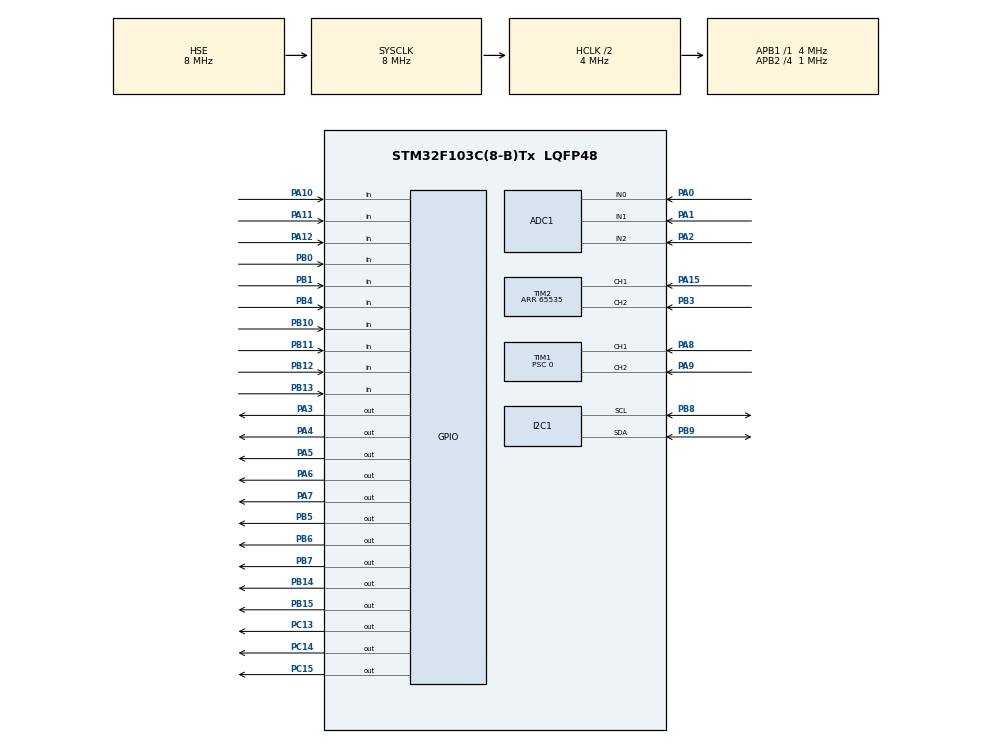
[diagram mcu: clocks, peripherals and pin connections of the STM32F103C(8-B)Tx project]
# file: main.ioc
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ADC1.Channel-0\#ChannelRegularConversion=ADC_CHANNEL_0
ADC1.ContinuousConvMode=ENABLE
ADC1.NbrOfConversion=1
ADC1.NbrOfConversionFlag=1
ADC1.Rank-0\#ChannelRegularConversion=1
ADC1.SamplingTime-0\#ChannelRegularConversion=ADC_SAMPLETIME_239CYCLES_5
ADC1.master=1
I2C1.I2C_Mode=I2C_Standard
Mcu.Family=STM32F1
Mcu.Name=STM32F103C(8-B)Tx
Mcu.Package=LQFP48
NVIC.PriorityGroup=NVIC_PRIORITYGROUP_4
PA0-WKUP.Signal=ADCx_IN0
PA1.Signal=ADCx_IN1
PA10.GPIO_PuPd=GPIO_PULLUP
PA10.Signal=GPIO_Input
PA11.GPIO_PuPd=GPIO_PULLUP
PA11.Signal=GPIO_Input
PA12.GPIO_PuPd=GPIO_PULLUP
PA12.Signal=GPIO_Input
PA13.Mode=Serial_Wire
PA13.Signal=SYS_JTMS-SWDIO
PA14.Mode=Serial_Wire
PA14.Signal=SYS_JTCK-SWCLK
PA15.GPIO_PuPd=GPIO_PULLUP
PA15.Signal=S_TIM2_CH1_ETR
PA2.Signal=ADCx_IN2
PA3.Signal=GPIO_Output
PA4.Signal=GPIO_Output
PA5.Signal=GPIO_Output
PA6.Signal=GPIO_Output
PA7.Signal=GPIO_Output
PA8.GPIO_Mode=GPIO_MODE_INPUT
PA8.GPIO_PuPd=GPIO_PULLUP
PA8.Signal=S_TIM1_CH1
PA9.GPIO_Mode=GPIO_MODE_INPUT
PA9.GPIO_PuPd=GPIO_PULLUP
PA9.Signal=S_TIM1_CH2
PB0.GPIO_PuPd=GPIO_PULLUP
PB0.Signal=GPIO_Input
PB1.GPIO_PuPd=GPIO_PULLUP
PB1.Signal=GPIO_Input
PB10.GPIO_PuPd=GPIO_PULLUP
PB10.Signal=GPIO_Input
PB11.GPIO_PuPd=GPIO_PULLUP
PB11.Signal=GPIO_Input
PB12.GPIO_PuPd=GPIO_PULLUP
PB12.Signal=GPIO_Input
PB13.GPIO_PuPd=GPIO_PULLUP
PB13.Signal=GPIO_Input
PB14.Signal=GPIO_Output
PB15.Signal=GPIO_Output
PB3.GPIO_PuPd=GPIO_PULLUP
PB3.Signal=S_TIM2_CH2
PB4.GPIO_PuPd=GPIO_PULLUP
PB4.Signal=GPIO_Input
PB5.Signal=GPIO_Output
PB6.Signal=GPIO_Output
PB7.Signal=GPIO_Output
PB8.Mode=I2C
PB8.Signal=I2C1_SCL
PB9.Mode=I2C
PB9.Signal=I2C1_SDA
PC13-TAMPER-RTC.Signal=GPIO_Output
PC14-OSC32_IN.Signal=GPIO_Output
PC15-OSC32_OUT.Signal=GPIO_Output
PD0-OSC_IN.Mode=HSE-External-Oscillator
PD0-OSC_IN.Signal=RCC_OSC_IN
PD1-OSC_OUT.Mode=HSE-External-Oscillator
PD1-OSC_OUT.Signal=RCC_OSC_OUT
ProjectManager.HeapSize=0x200
ProjectManager.StackSize=0x400
ProjectManager.TargetToolchain=Makefile
RCC.AHBCLKDivider=RCC_SYSCLK_DIV2
RCC.AHBFreq_Value=4000000
RCC.APB1Freq_Value=4000000
RCC.APB1TimFreq_Value=4000000
RCC.APB2CLKDivider=RCC_HCLK_DIV4
RCC.APB2Freq_Value=1000000
RCC.APB2TimFreq_Value=2000000
RCC.HCLKFreq_Value=4000000
RCC.PLLSourceVirtual=RCC_PLLSOURCE_HSE
RCC.SYSCLKFreq_VALUE=8000000
RCC.SYSCLKSource=RCC_SYSCLKSOURCE_HSE
RCC.TimSys_Div=SYSTICK_CLKSOURCE_HCLK_DIV8
RCC.USBFreq_Value=16000000
SH.ADCx_IN0.0=ADC1_IN0,IN0
SH.ADCx_IN1.0=ADC1_IN1,IN1
SH.ADCx_IN2.0=ADC1_IN2,IN2
SH.S_TIM1_CH1.0=TIM1_CH1,Encoder_Interface
SH.S_TIM1_CH2.0=TIM1_CH2,Encoder_Interface
SH.S_TIM2_CH1_ETR.0=TIM2_CH1,Encoder_Interface
SH.S_TIM2_CH2.0=TIM2_CH2,Encoder_Interface
TIM1.ClockDivision=TIM_CLOCKDIVISION_DIV1
TIM1.CounterMode=TIM_COUNTERMODE_UP
TIM1.EncoderMode=TIM_ENCODERMODE_TI1
TIM1.IC1Filter=0
TIM1.IC2Filter=0
TIM1.Period=65535
TIM1.Prescaler=0
TIM2.Period=65535
board=stm32-si5351-vfo

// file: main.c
/* USER CODE BEGIN Header */
/**
  ******************************************************************************
  * @file           : main.c
  * @brief          : Main program body
  ******************************************************************************
  ** This notice applies to any and all portions of this file
  * that are not between comment pairs USER CODE BEGIN and
  * USER CODE END. Other portions of this file, whether
  * inserted by the user or by software development tools
  * are owned by their respective copyright owners.
  *
  * COPYRIGHT(c) 2020 STMicroelectronics
  *
  * Redistribution and use in source and binary forms, with or without modification,
  * are permitted provided that the following conditions are met:
  *   1. Redistributions of source code must retain the above copyright notice,
  *      this list of conditions and the following disclaimer.
  *   2. Redistributions in binary form must reproduce the above copyright notice,
  *      this list of conditions and the following disclaimer in the documentation
  *      and/or other materials provided with the distribution.
  *   3. Neither the name of STMicroelectronics nor the names of its contributors
  *      may be used to endorse or promote products derived from this software
  *      without specific prior written permission.
  *
  * THIS SOFTWARE IS PROVIDED BY THE COPYRIGHT HOLDERS AND CONTRIBUTORS "AS IS"
  * AND ANY EXPRESS OR IMPLIED WARRANTIES, INCLUDING, BUT NOT LIMITED TO, THE
  * IMPLIED WARRANTIES OF MERCHANTABILITY AND FITNESS FOR A PARTICULAR PURPOSE ARE
  * DISCLAIMED. IN NO EVENT SHALL THE COPYRIGHT HOLDER OR CONTRIBUTORS BE LIABLE
  * FOR ANY DIRECT, INDIRECT, INCIDENTAL, SPECIAL, EXEMPLARY, OR CONSEQUENTIAL
  * DAMAGES (INCLUDING, BUT NOT LIMITED TO, PROCUREMENT OF SUBSTITUTE GOODS OR
  * SERVICES; LOSS OF USE, DATA, OR PROFITS; OR BUSINESS INTERRUPTION) HOWEVER
  * CAUSED AND ON ANY THEORY OF LIABILITY, WHETHER IN CONTRACT, STRICT LIABILITY,
  * OR TORT (INCLUDING NEGLIGENCE OR OTHERWISE) ARISING IN ANY WAY OUT OF THE USE
  * OF THIS SOFTWARE, EVEN IF ADVISED OF THE POSSIBILITY OF SUCH DAMAGE.
  *
  ******************************************************************************
  */
/* USER CODE END Header */

#include "main.h"

/* USER CODE BEGIN Includes */
#include <string.h>
#include <stdlib.h>
#include <stdbool.h>
#include <math.h>
#include "si5351.h"
#include "lcd.h"

/* USER CODE END Includes */

ADC_HandleTypeDef hadc1;

I2C_HandleTypeDef hi2c1;

TIM_HandleTypeDef htim1;
TIM_HandleTypeDef htim2;

/* USER CODE BEGIN PV */
/* Private variables ---------------------------------------------------------*/

/* USER CODE END PV */

void SystemClock_Config(void);
static void MX_GPIO_Init(void);
static void MX_TIM1_Init(void);
static void MX_I2C1_Init(void);
static void MX_ADC1_Init(void);
static void MX_TIM2_Init(void);
/* USER CODE BEGIN PFP */
/* Private function prototypes -----------------------------------------------*/

/* USER CODE END PFP */

/* USER CODE BEGIN 0 */

#define CH_CW   0
#define CH_CAL  1
#define CH_VFO  2

#define LOOP_DELAY 5

const int32_t CWFilterCenterFrequency = 8998300;
const int32_t SSBFilterLowFrequency  = 8997600;
const int32_t SSBFilterHighFrequency = 9000670;

const int32_t si5351_correction = 11014;
const si5351DriveStrength_t VFODriveStrength = SI5351_DRIVE_STRENGTH_4MA;

/* Adjust for used rotary encoders */
#define MAIN_DELTA_DIV 20
#define MAIN_DELTA_MULT 1
#define CLAR_DELTA_DIV 1
#define CLAR_DELTA_MULT -1

int32_t Fvfo = 1000000; // dummy value, will be changed below

const uint8_t eeprom_i2c_addr = (0x50 << 1);
#define EEPROM_PAGE_SIZE 32
#define KEYER_CONFIG_EEPROM_ADDR        0x0000
#define KEYER_MESSAGE_EEPROM_ADDR       0x0400

typedef enum {
    CLAR_MODE_DISABLED = 0,
    CLAR_MODE_RIT = 1,
    CLAR_MODE_XIT = 2,
} ClarMode_t;

bool lockMode = false;
bool fastMode = false;
ClarMode_t clarMode = CLAR_MODE_DISABLED;

int32_t clarOffset = 0;

typedef enum {
    CW_SEND_NONE = 0,
    CW_SEND_DIT = 1,
    CW_SEND_DAH = 2,
} CwSend_t;

CwSend_t lastSent = CW_SEND_NONE;
CwSend_t nextSend = CW_SEND_NONE;

typedef enum {
    KEYER_SETINGS_PAGE_SPEED = 0,
    KEYER_SETINGS_PAGE_SAVE = 1,
    KEYER_SETINGS_PAGE_PLAY = 2,
} KeyerSettingsPage_t;

typedef struct {
    uint16_t checksum;
    bool straightKey;
    int32_t speedWPM;
    int32_t ditTimeMs;
    KeyerSettingsPage_t settingsPage;
} KeyerConfig_t;

KeyerConfig_t keyerConfig = {
    .checksum = 0,
    .straightKey = false,
    .speedWPM = 19,

    // ditTimeMs = 60*1000/(50*WPM)
    // where 50 is the length in dits of "PARIS "
    // see https://morsecode.world/international/timing.html
    .ditTimeMs = 63,
    .settingsPage = KEYER_SETINGS_PAGE_SPEED,
};

#define MAX_KEYER_MESSAGE_LENGTH 500

typedef struct {
    uint16_t checksum;
    uint16_t length;
    char message[MAX_KEYER_MESSAGE_LENGTH];
} KeyerMessage_t;

KeyerMessage_t keyerMessage = {
    .checksum = 0,
    .length = 0,
};

bool inTransmitMode = false;
bool transmittingSSB = false;

#define BUTTON_DEBOUNCE_TIME_MS 200
typedef enum {
    BUTTON_STATUS_PRESSED = 0,
    BUTTON_STATUS_RELEASED = 1,
    BUTTON_STATUS_DEBOUNCE = 2,
} ButtonStatus_t;

typedef enum {
    USE_LPF_80 = 0,
    USE_LPF_40 = 1,
    USE_LPF_20_30 = 2,
    USE_LPF_15_17 = 3,
    USE_LPF_10_12 = 4,
} UseLPF_t;

typedef enum {
    USE_BPF_80 = 0,
    USE_BPF_40 = 1,
    USE_BPF_30 = 2,
    USE_BPF_20 = 3,
    USE_BPF_17 = 4,
    USE_BPF_15 = 5,
    USE_BPF_12 = 6,
    USE_BPF_10 = 7,
} UseBPF_t;

#define FAST_FREQUENCIES_NUMBER 5

typedef struct {
    int32_t minFreq;
    int32_t maxFreq;
    int32_t lastFreq;
    /* The array of FAST frequencies should be sorted */
    int32_t fastFreqs[FAST_FREQUENCIES_NUMBER];
    UseLPF_t lpf;
    UseBPF_t bpf;
    /*
     * Compensate for losses in RG-174, frequency response of the given
     * PA depending on the used transistor, imperfections of the LPFs, etc.
     * This works only for CW.
     */
    si5351DriveStrength_t txDriveStrength;
} BandInfo_t;

int32_t currentBand = 3; // default: 20m

BandInfo_t bands[] = {
    {
        .minFreq  = 3500000,
        .maxFreq  = 3800000,
        .lastFreq = 3560000,
        .fastFreqs = { 3500000, 3560000, 3570000, 3600000, 3800000 },
        .lpf = USE_LPF_80,
        .bpf = USE_BPF_80,
        .txDriveStrength = SI5351_DRIVE_STRENGTH_2MA,
    },
    {
        .minFreq  = 7000000,
        .maxFreq  = 7200000,
        .lastFreq = 7030000,
        .fastFreqs = { 7000000, 7030000, 7040000, 7050000, 7200000 },
        .lpf = USE_LPF_40,
        .bpf = USE_BPF_40,
        .txDriveStrength = SI5351_DRIVE_STRENGTH_2MA,
    },
    {
        .minFreq  = 10100000,
        .maxFreq  = 10150000,
        .lastFreq = 10116000,
        .fastFreqs = { 10100000, 10116000, 10130000, -1, -1 },
        .lpf = USE_LPF_20_30,
        .bpf = USE_BPF_30,
        .txDriveStrength = SI5351_DRIVE_STRENGTH_2MA,
    },
    {
        .minFreq  = 14000000,
        .maxFreq  = 14350000,
        .lastFreq = 14060000,
        .fastFreqs = { 14000000, 14060000, 14070000, 14101000, 14350000 },
        .lpf = USE_LPF_20_30,
        .bpf = USE_BPF_20,
        .txDriveStrength = SI5351_DRIVE_STRENGTH_2MA,
    },
    {
        .minFreq  = 18068000,
        .maxFreq  = 18168000,
        .lastFreq = 18086000,
        .fastFreqs = { 18068000, 18086000, 18095000, 18111000, 18168000 },
        .lpf = USE_LPF_15_17,
        .bpf = USE_BPF_17,
        .txDriveStrength = SI5351_DRIVE_STRENGTH_4MA,
    },
    {
        .minFreq  = 21000000,
        .maxFreq  = 21450000,
        .lastFreq = 21060000,
        .fastFreqs = { 21000000, 21060000, 21070000, 21151000, 21450000 },
        .lpf = USE_LPF_15_17,
        .bpf = USE_BPF_15,
        .txDriveStrength = SI5351_DRIVE_STRENGTH_8MA,
    },
    {
        .minFreq  = 24890000,
        .maxFreq  = 24990000,
        .lastFreq = 24906000,
        .fastFreqs = { 24890000, 24906000, 24915000, 24931000, 24990000 },
        .lpf = USE_LPF_10_12,
        .bpf = USE_BPF_12,
        .txDriveStrength = SI5351_DRIVE_STRENGTH_8MA,
    },
    {
        .minFreq  = 28000000,
        .maxFreq  = 29700000,
        .lastFreq = 28060000,
        .fastFreqs = { 28000000, 28060000, 28070000, 28225000, 29000000 },
        .lpf = USE_LPF_10_12,
        .bpf = USE_BPF_10,
        .txDriveStrength = SI5351_DRIVE_STRENGTH_8MA,
    },
};

void ADC_Select_Channel(uint32_t ch) {
    ADC_ChannelConfTypeDef conf = {
        .Channel = ch,
        .Rank = 1,
        .SamplingTime = ADC_SAMPLETIME_28CYCLES_5,
    };
    if (HAL_ADC_ConfigChannel(&hadc1, &conf) != HAL_OK) {
        Error_Handler();
    }

    /*
     * Without this delay the next call of ADC_ReadVoltage()
     * may get a value from the previously used channel.
     * As a result updateSWRMeter() will see equal v_fwd
     * and v_ref, which results in a false high SWR value.
     * So keep the delay!
     */
    HAL_Delay(1);
}

double ADC_ReadVoltage(uint32_t ch) {
    ADC_Select_Channel(ch);
    HAL_ADC_PollForConversion(&hadc1, HAL_MAX_DELAY);
    return ((double)HAL_ADC_GetValue(&hadc1))*3.3/4096.0;
}

// http://en.wikipedia.org/wiki/Jenkins_hash_function
uint32_t jenkinsHash(const uint8_t *data, const size_t len) {
    uint32_t hash, i;
    for(hash = i = 0; i < len; ++i) {
        hash += data[i];
        hash += (hash << 10);
        hash ^= (hash >> 6);
    }
    hash += (hash << 3);
    hash ^= (hash >> 11);
    hash += (hash << 15);
    return hash;
}

void loadKeyerMessage() {
    HAL_StatusTypeDef status;
    uint16_t savedChecksum;
    KeyerMessage_t savedKeyerMessage;

    for(;;) {
        status = HAL_I2C_IsDeviceReady(&hi2c1, eeprom_i2c_addr, 3, HAL_MAX_DELAY);
        if(status == HAL_OK)
            break;
    }

    HAL_I2C_Mem_Read(&hi2c1, eeprom_i2c_addr, KEYER_MESSAGE_EEPROM_ADDR, I2C_MEMADD_SIZE_16BIT,
            (uint8_t*)&savedKeyerMessage, sizeof(savedKeyerMessage), HAL_MAX_DELAY);

    savedChecksum = savedKeyerMessage.checksum;
    savedKeyerMessage.checksum = 0;

    if((jenkinsHash((const uint8_t*)&savedKeyerMessage, sizeof(savedKeyerMessage)) & 0xFFFF) == savedChecksum) {
        keyerMessage = savedKeyerMessage;
    } else {
        LCD_Goto(0, 0);
        LCD_SendString("MSG HASH");
        LCD_Goto(1, 0);
        LCD_SendString(" ERROR! ");
        HAL_Delay(2000);
        LCD_Clear();
    }
}

void saveKeyerMessage() {
    HAL_StatusTypeDef status;
    uint16_t checksum;
    size_t bytes_to_write = sizeof(keyerMessage);
    uint8_t* struct_offset = (uint8_t*)&keyerMessage;
    uint16_t eeprom_addr = KEYER_MESSAGE_EEPROM_ADDR;

    keyerMessage.checksum = 0;
    checksum = (jenkinsHash((const uint8_t*)&keyerMessage, sizeof(keyerMessage)) & 0xFFFF);
    keyerMessage.checksum = checksum;

    // sizeof(keyerMessage) exceeds EEPROM_PAGE_SIZE
    // so we have to write it in batches
    while(bytes_to_write > 0) {
        size_t batch_size = bytes_to_write;
        if(batch_size > EEPROM_PAGE_SIZE) {
            batch_size = EEPROM_PAGE_SIZE;
        }

        for(;;) {
            status = HAL_I2C_IsDeviceReady(&hi2c1, eeprom_i2c_addr, 3, HAL_MAX_DELAY);
            if(status == HAL_OK)
                break;
        }

        HAL_I2C_Mem_Write(&hi2c1, eeprom_i2c_addr, eeprom_addr, I2C_MEMADD_SIZE_16BIT,
            struct_offset, batch_size, HAL_MAX_DELAY);

        bytes_to_write -= batch_size;
        struct_offset += batch_size;
        eeprom_addr += batch_size;
    }
}

void loadKeyerConfig() {
    HAL_StatusTypeDef status;
    uint16_t savedChecksum;
    KeyerConfig_t savedKeyerConfig;

    for(;;) {
        status = HAL_I2C_IsDeviceReady(&hi2c1, eeprom_i2c_addr, 3, HAL_MAX_DELAY);
        if(status == HAL_OK)
            break;
    }

    HAL_I2C_Mem_Read(&hi2c1, eeprom_i2c_addr, KEYER_CONFIG_EEPROM_ADDR, I2C_MEMADD_SIZE_16BIT,
        (uint8_t*)&savedKeyerConfig, sizeof(savedKeyerConfig), HAL_MAX_DELAY);

    savedChecksum = savedKeyerConfig.checksum;
    savedKeyerConfig.checksum = 0;

    if((jenkinsHash((const uint8_t*)&savedKeyerConfig, sizeof(savedKeyerConfig)) & 0xFFFF) == savedChecksum) {
        keyerConfig = savedKeyerConfig;
    } else {
        LCD_Goto(0, 0);
        LCD_SendString("CFG HASH");
        LCD_Goto(1, 0);
        LCD_SendString(" ERROR! ");
        HAL_Delay(2000);
        LCD_Clear();
    }
}

void saveKeyerConfig() {
    HAL_StatusTypeDef status;
    uint16_t checksum;
    keyerConfig.checksum = 0;

    checksum = (jenkinsHash((const uint8_t*)&keyerConfig, sizeof(keyerConfig)) & 0xFFFF);
    keyerConfig.checksum = checksum;

    for(;;) {
        status = HAL_I2C_IsDeviceReady(&hi2c1, eeprom_i2c_addr, 3, HAL_MAX_DELAY);
        if(status == HAL_OK)
            break;
    }

    HAL_I2C_Mem_Write(&hi2c1, eeprom_i2c_addr, KEYER_CONFIG_EEPROM_ADDR, I2C_MEMADD_SIZE_16BIT,
        (uint8_t*)&keyerConfig, sizeof(keyerConfig), HAL_MAX_DELAY);
}

void changeKeyerSpeed(int32_t delta) {
    keyerConfig.speedWPM += delta;
    if(keyerConfig.speedWPM < 10) {
        keyerConfig.speedWPM = 10;
        keyerConfig.straightKey = true;
        keyerConfig.ditTimeMs = 60*1000/(50*(10+1)); // as for 10 WPM
    } else {
        keyerConfig.straightKey = false;
        if(keyerConfig.speedWPM > 30) {
            keyerConfig.speedWPM = 30;
        }

        /* +1 compensates the signal rise/fall time */
        keyerConfig.ditTimeMs = 60*1000/(50*(keyerConfig.speedWPM + 1));
    }
}

void SetupCLK(uint8_t output, int32_t Fclk, si5351DriveStrength_t driveStrength) {
    static bool pllSetupDone = false;
    si5351PLLConfig_t pll_conf;
    si5351OutputConfig_t out_conf;

    si5351_Calc(Fclk, &pll_conf, &out_conf);
    if(!pllSetupDone) {
        si5351_SetupPLL(SI5351_PLL_A, &pll_conf);
        pllSetupDone = true;
    }
    si5351_SetupOutput(output, SI5351_PLL_A, driveStrength, &out_conf);
}

void enableTx(bool enable) {
    // ENABLE_TX_12V
    HAL_GPIO_WritePin(GPIOB, GPIO_PIN_15, enable ? GPIO_PIN_SET : GPIO_PIN_RESET);
}

void switchBFO(bool enable) {
    /*
     *  enable - use high frequency BFO, e.g. 9_000_633
     * !enable - use  low frequency BFO, e.g. 8_997_600
     */
    HAL_GPIO_WritePin(GPIOA, GPIO_PIN_7, enable ? GPIO_PIN_SET : GPIO_PIN_RESET);
}

bool enabledSSBMode() {
    /*
     * B4 is low  - SSB mode
     * B4 is high -  CW mode
     */
    return (HAL_GPIO_ReadPin(GPIOB, GPIO_PIN_4) == GPIO_PIN_RESET);
}

void changeFrequency(int32_t delta, bool tx, bool force) {
    static int32_t prevFvfo = 0;

    if((!force) && lockMode) {
        return;
    }

    if(fastMode) {
        delta *= 10;
    }
    bands[currentBand].lastFreq += 100*delta;
    if(fastMode && (delta != 0)) {
        bands[currentBand].lastFreq -= bands[currentBand].lastFreq % 1000;
    }

    if(bands[currentBand].lastFreq < bands[currentBand].minFreq) {
        bands[currentBand].lastFreq = bands[currentBand].minFreq;
    } else if(bands[currentBand].lastFreq > bands[currentBand].maxFreq) {
        bands[currentBand].lastFreq = bands[currentBand].maxFreq;
    }

    if(enabledSSBMode()) {
        if((currentBand == 0) || (currentBand == 1)) {
            /* Low frequency BFO is used on 80 and 40 meters */
            Fvfo = bands[currentBand].lastFreq + SSBFilterLowFrequency;
        } else {
            Fvfo = bands[currentBand].lastFreq + SSBFilterHighFrequency;
        }
    } else {
        // this path is executed only when receiving CW
        Fvfo = bands[currentBand].lastFreq + CWFilterCenterFrequency;
    }

    if(tx) {
        // this path is executed only when transmitting SSB
        if(clarMode == CLAR_MODE_XIT) {
            Fvfo += clarOffset;
        }
    } else {
        if(clarMode == CLAR_MODE_RIT) {
            Fvfo += clarOffset;
        }
    }

    if(force || (Fvfo != prevFvfo)) {
        SetupCLK(CH_VFO, Fvfo, VFODriveStrength);
    }

    prevFvfo = Fvfo;
}

void checkIfRxModeHasChanged() {
    static bool firstCall = true;
    static bool prevBFOSwitch = false;
    static bool prevSSBMode = false;

    bool ssbMode = enabledSSBMode();

    /*
     * use high frequency BFO (i.e. spectrum inversion)
     * for SSB on bands other than 80 and 40 meters
     */
    bool bfoSwitch = ssbMode && (currentBand != 0) && (currentBand != 1);

    if((prevBFOSwitch != bfoSwitch) || firstCall) {
        switchBFO(bfoSwitch);
        prevBFOSwitch = bfoSwitch;
    }

    if((prevSSBMode != ssbMode) || firstCall) {
        changeFrequency(0, false, true);
        // ENABLE_SSB_12V
        HAL_GPIO_WritePin(GPIOB, GPIO_PIN_14, ssbMode ? GPIO_PIN_SET : GPIO_PIN_RESET);
        prevSSBMode = ssbMode;
    }

    firstCall = false;
}

void displayFrequency() {
    char buff[16];
    snprintf(buff, sizeof(buff), "%02ld.%03ld.%01ld",
        bands[currentBand].lastFreq / 1000000,
        (bands[currentBand].lastFreq % 1000000) / 1000,
        (bands[currentBand].lastFreq % 1000) / 100);

    LCD_Goto(0, 0);
    LCD_SendString(buff);
}

bool buttonDitPressed() {
    return (HAL_GPIO_ReadPin(GPIOB, GPIO_PIN_12) == GPIO_PIN_RESET);
}

bool buttonDahPressed() {
    return (HAL_GPIO_ReadPin(GPIOB, GPIO_PIN_13) == GPIO_PIN_RESET);
}

void displaySMeterOrMode(bool force) {
    static const char* prevSValue = NULL;
    static uint32_t lastSMeterUpdateTime = 0;
    // don't forget to add '-u _printf_float' to LDFLAGS
    char buff[16];

    if(force) {
        LCD_Goto(1, 0);
        if(fastMode) {
            LCD_SendString("= FAST =");
            return;
        } else if(lockMode) {
            LCD_SendString("= LOCK =");
            return;
        } else if(clarMode != CLAR_MODE_DISABLED) {
            snprintf(buff, sizeof(buff), "%s%s%04d",
                clarMode == CLAR_MODE_RIT ? "RIT" : "XIT",
                clarOffset < 0 ? "-" : "+",
                abs(clarOffset));
            LCD_SendString(buff);
            return;
        }
    }

    uint32_t tstamp = HAL_GetTick();
    if(force || (tstamp - lastSMeterUpdateTime > 500)) {
        const char* sValue = NULL;
        double voltage = ADC_ReadVoltage(ADC_CHANNEL_2);

        if(voltage <= 0.035) {
            sValue = "S0      ";
        } else if(voltage <= 0.038) {
            sValue = "S1      ";
        } else if(voltage <= 0.043) {
            sValue = "S2\x02     ";
        } else if(voltage <= 0.048) {
            sValue = "S3\x02     ";
        } else if(voltage <= 0.080) {
            sValue = "S4\x02\x03    ";
        } else if(voltage <= 0.240) {
            sValue = "S5\x02\x03    ";
        } else if(voltage <= 0.700) {
            sValue = "S6\x02\x03\x04   ";
        } else if(voltage <= 1.750) {
            sValue = "S7\x02\x03\x04\x05  ";
        } else if(voltage <= 2.400) {
            sValue = "S8\x02\x03\x04\x05\x06 ";
        } else if(voltage <= 2.500) {
            sValue = "S9\x02\x03\x04\x05\x06\x07";
        } else {
            sValue = "S+\x02\x03\x04\x05\x06\x07";
        }

        if(force || (prevSValue != sValue)) {
            // Don't re-render the S-meter if we are about to transmit
            if(!buttonDitPressed() && !buttonDahPressed()) {
                LCD_Goto(1, 0);
                LCD_SendString(sValue);
            }
        }

        prevSValue = sValue;
        lastSMeterUpdateTime = tstamp;
    }
}

void keyDown() {
    if(inTransmitMode) {
        // enable CH_CW
        si5351_EnableOutputs(1 << CH_CW);

        // ENABLE_KEYED_VCC
        HAL_GPIO_WritePin(GPIOC, GPIO_PIN_14, GPIO_PIN_SET);
    }

    // CW tone ON
    HAL_GPIO_WritePin(GPIOC, GPIO_PIN_13, GPIO_PIN_SET);
}

void keyUp() {
    if(inTransmitMode) {
        // disable CH_CW, but only during actual TX
        // e.g. not during playbackSavedMessage()
        si5351_EnableOutputs(0);
    }

    // make sure ENABLE_KEYED_VCC is low regardless of inTransmitMode value
    HAL_GPIO_WritePin(GPIOC, GPIO_PIN_14, GPIO_PIN_RESET);

    // CW tone OFF
    HAL_GPIO_WritePin(GPIOC, GPIO_PIN_13, GPIO_PIN_RESET);
}

void switchLPFs(UseLPF_t lpf) {
    HAL_GPIO_WritePin(GPIOC, GPIO_PIN_15, lpf == USE_LPF_10_12 ? GPIO_PIN_SET : GPIO_PIN_RESET);
    HAL_GPIO_WritePin(GPIOA, GPIO_PIN_3, lpf == USE_LPF_15_17 ? GPIO_PIN_SET : GPIO_PIN_RESET);
    HAL_GPIO_WritePin(GPIOA, GPIO_PIN_4, lpf == USE_LPF_20_30 ? GPIO_PIN_SET : GPIO_PIN_RESET);
    HAL_GPIO_WritePin(GPIOA, GPIO_PIN_5, lpf == USE_LPF_40 ? GPIO_PIN_SET : GPIO_PIN_RESET);
    HAL_GPIO_WritePin(GPIOA, GPIO_PIN_6, lpf == USE_LPF_80 ? GPIO_PIN_SET : GPIO_PIN_RESET);
}

void switchBPFs(UseBPF_t bpf) {
    switch(bpf) {
    case USE_BPF_10:
        HAL_GPIO_WritePin(GPIOB, GPIO_PIN_5, GPIO_PIN_RESET);
        HAL_GPIO_WritePin(GPIOB, GPIO_PIN_6, GPIO_PIN_RESET);
        HAL_GPIO_WritePin(GPIOB, GPIO_PIN_7, GPIO_PIN_RESET);
        break;
    case USE_BPF_12:
        HAL_GPIO_WritePin(GPIOB, GPIO_PIN_5, GPIO_PIN_SET);
        HAL_GPIO_WritePin(GPIOB, GPIO_PIN_6, GPIO_PIN_RESET);
        HAL_GPIO_WritePin(GPIOB, GPIO_PIN_7, GPIO_PIN_RESET);
        break;
    case USE_BPF_15:
        HAL_GPIO_WritePin(GPIOB, GPIO_PIN_5, GPIO_PIN_RESET);
        HAL_GPIO_WritePin(GPIOB, GPIO_PIN_6, GPIO_PIN_SET);
        HAL_GPIO_WritePin(GPIOB, GPIO_PIN_7, GPIO_PIN_RESET);
        break;
    case USE_BPF_17:
        HAL_GPIO_WritePin(GPIOB, GPIO_PIN_5, GPIO_PIN_SET);
        HAL_GPIO_WritePin(GPIOB, GPIO_PIN_6, GPIO_PIN_SET);
        HAL_GPIO_WritePin(GPIOB, GPIO_PIN_7, GPIO_PIN_RESET);
        break;
    case USE_BPF_20:
        HAL_GPIO_WritePin(GPIOB, GPIO_PIN_5, GPIO_PIN_RESET);
        HAL_GPIO_WritePin(GPIOB, GPIO_PIN_6, GPIO_PIN_RESET);
        HAL_GPIO_WritePin(GPIOB, GPIO_PIN_7, GPIO_PIN_SET);
        break;
    case USE_BPF_30:
        HAL_GPIO_WritePin(GPIOB, GPIO_PIN_5, GPIO_PIN_SET);
        HAL_GPIO_WritePin(GPIOB, GPIO_PIN_6, GPIO_PIN_RESET);
        HAL_GPIO_WritePin(GPIOB, GPIO_PIN_7, GPIO_PIN_SET);
        break;
    case USE_BPF_40:
        HAL_GPIO_WritePin(GPIOB, GPIO_PIN_5, GPIO_PIN_RESET);
        HAL_GPIO_WritePin(GPIOB, GPIO_PIN_6, GPIO_PIN_SET);
        HAL_GPIO_WritePin(GPIOB, GPIO_PIN_7, GPIO_PIN_SET);
        break;
    default: // USE_BPF_80
        HAL_GPIO_WritePin(GPIOB, GPIO_PIN_5, GPIO_PIN_SET);
        HAL_GPIO_WritePin(GPIOB, GPIO_PIN_6, GPIO_PIN_SET);
        HAL_GPIO_WritePin(GPIOB, GPIO_PIN_7, GPIO_PIN_SET);
        break;
    }
}

void changeBand(int32_t delta) {
    currentBand += delta;
    while(currentBand < 0) {
        currentBand += sizeof(bands)/sizeof(bands[0]);
    }
    currentBand %= sizeof(bands)/sizeof(bands[0]);

    switchBPFs(bands[currentBand].bpf);
    switchLPFs(bands[currentBand].lpf);

    changeFrequency(0, false, false);
    si5351_EnableOutputs(1 << CH_VFO);
    displayFrequency();
}

void ensureTransmitMode() {
    if(inTransmitMode) {
        return;
    }

    if(transmittingSSB) {
        // changes VFO frequency accordingly
        changeFrequency(0, true, true);

        // ENABLE_KEYED_VCC
        HAL_GPIO_WritePin(GPIOC, GPIO_PIN_14, GPIO_PIN_SET);
    } else {
        int32_t targetFrequency = bands[currentBand].lastFreq;
        if(clarMode == CLAR_MODE_XIT) {
            targetFrequency += clarOffset;
        }

        SetupCLK(CH_CW, targetFrequency, bands[currentBand].txDriveStrength);
        keyUp(); // calls si5351_EnableOutputs()
    }

    enableTx(true);

    LCD_Goto(1, 0);
    LCD_SendString("SWR  ---");

    inTransmitMode = true;
}

void ensureReceiveMode() {
    if(!inTransmitMode) {
        return;
    }

    keyUp(); // ENABLE_KEYED_VCC = LOW, etc
    enableTx(false);

    // Restore the original VFO
    changeFrequency(0, false, true);
    si5351_EnableOutputs(1 << CH_VFO);
    displaySMeterOrMode(true);
    inTransmitMode = false;

    /*
     * As it turned out, the receiver is sensitive enough to receive
     * signals from the configured channels even when the channels are
     * disabled. For this reason here the channels are configured so that
     * the signals and their harmonics are above anything we may possible
     * receive. Doing it for both CH_CW and CH_CAL, just to play it safe.
     */
    SetupCLK(CH_CW,  80000000, SI5351_DRIVE_STRENGTH_2MA);
    SetupCLK(CH_CAL, 80000000, SI5351_DRIVE_STRENGTH_2MA);
}

ButtonStatus_t buttonPressed(GPIO_TypeDef *GPIOx, uint16_t GPIO_Pin, uint32_t* lastPressed) {
    if(HAL_GPIO_ReadPin(GPIOx, GPIO_Pin) == GPIO_PIN_RESET) {
        uint32_t now = HAL_GetTick();
        if(now - *lastPressed > BUTTON_DEBOUNCE_TIME_MS) {
            *lastPressed = now;
            return BUTTON_STATUS_PRESSED;
        } else {
            return BUTTON_STATUS_DEBOUNCE;
        }
    }
    return BUTTON_STATUS_RELEASED;
}

ButtonStatus_t buttonKeyerPressed() {
    static uint32_t lastPressed = 0;
    return buttonPressed(GPIOA, GPIO_PIN_10, &lastPressed);
}

ButtonStatus_t buttonXmitPressed() {
    static uint32_t lastPressed = 0;
    return buttonPressed(GPIOA, GPIO_PIN_11, &lastPressed);
}

ButtonStatus_t buttonNextPressed() {
    static uint32_t lastPressed = 0;
    return buttonPressed(GPIOA, GPIO_PIN_12, &lastPressed);
}

ButtonStatus_t buttonClarPressed() {
    static uint32_t lastPressed = 0;
    return buttonPressed(GPIOB, GPIO_PIN_0, &lastPressed);
}

ButtonStatus_t buttonPrevPressed() {
    static uint32_t lastPressed = 0;
    return buttonPressed(GPIOB, GPIO_PIN_1, &lastPressed);
}

ButtonStatus_t buttonFastPressed() {
    static uint32_t lastPressed = 0;
    return buttonPressed(GPIOB, GPIO_PIN_10, &lastPressed);
}

ButtonStatus_t buttonLockPressed() {
    static uint32_t lastPressed = 0;
    return buttonPressed(GPIOB, GPIO_PIN_11, &lastPressed);
}

// `straightKeyerKeyIsDown` is used to avoid calling keyUp()/keyDown() if we did it already.
// Calling HAL_GPIO_WritePin() too often generates a hearable noise.
bool straightKeyerKeyIsDown;

void initStraightKeyer() {
    straightKeyerKeyIsDown = false;
}

void processStraightKeyerLogic(bool pressed) {
    if(pressed) {
        if(!straightKeyerKeyIsDown) {
            keyDown();
            straightKeyerKeyIsDown = true;
        }
    } else if(straightKeyerKeyIsDown) {
        keyUp();
        straightKeyerKeyIsDown = false;
    }
}

void initIambicKeyer() {
    // iambic keyer has nothing to init
}

static size_t iambicKeyerLogOffset = 0;
static char iambicKeyerLog[MAX_KEYER_MESSAGE_LENGTH] = {0};

void iambicKeyerLogReset() {
    iambicKeyerLogOffset = 0;
}

size_t iambicKeyerLogSize() {
    return iambicKeyerLogOffset;
}

size_t iambicKeyerLogSpaceLeft() {
    return MAX_KEYER_MESSAGE_LENGTH - iambicKeyerLogOffset;
}

// Iambic keyer logs up to MAX_KEYER_MESSAGE_LENGTH symbols.
// '.' is a dit
// '-' is a dah
// ' ' is a pause between letters
// '/' is a pause between words
// Multiple pauses between letters are logged as one pause.
// Multiple pauses between words are also logged as one pause.
// Pauses in the beginning of the message are not logged.
void iambicKeyerLogEmit(char c) {
    if(iambicKeyerLogSpaceLeft() == 0) {
        // truncate the message if there is not space left in the buffer
        return;
    }

    if(((c == ' ') || (c == '/')) && (iambicKeyerLogOffset == 0)) {
        // don't log the pauses in the beginning of the message
        return;
    }

    if((c == ' ') && iambicKeyerLog[iambicKeyerLogOffset-1] == ' ') {
        // multiple pauses between letters are logged as one pause
        return;
    }

    if((c == '/') && iambicKeyerLog[iambicKeyerLogOffset-1] == '/') {
        // multiple pauses between words are logged as one pause.
        return;
    }

    if((c == '/') && iambicKeyerLog[iambicKeyerLogOffset-1] == ' ') {
        // previously logged pause between letters became a pause between words
        iambicKeyerLog[iambicKeyerLogOffset-1] = '/';
        return;
    }

    if((c == ' ') && iambicKeyerLog[iambicKeyerLogOffset-1] == '/') {
        // to my knowledge this should never happen...
        return;
    }

    // log the symbol
    iambicKeyerLog[iambicKeyerLogOffset] = c;
    iambicKeyerLogOffset++;
}

void processIambicKeyerLogic(bool ditPressed, bool dahPressed) {
    static int32_t sendFinish = 0;
    static int32_t keyReadTimeout = 0;
    static int32_t sendTimeout = 0;
    static bool isSending = false;

    int32_t now = HAL_GetTick();

    if(isSending && (now >= sendFinish)) {
        keyUp();
        isSending = false;
    } else if(!isSending && (now - sendFinish) > keyerConfig.ditTimeMs*5) {
        // multiple pauses between words will be logged as one pause
        // pauses in the beginning of the message will be ignored
        iambicKeyerLogEmit('/');
    } else if(!isSending && (now - sendFinish) > keyerConfig.ditTimeMs*2) {
        // multiple pauses between letters will be logged as one pause
        // pauses in the beginning of the message will be ignored
        iambicKeyerLogEmit(' ');
    }

    if(nextSend == CW_SEND_NONE) {
        if(ditPressed && (lastSent == CW_SEND_DAH)) {
            nextSend = CW_SEND_DIT;
        } else if(dahPressed && (lastSent == CW_SEND_DIT)) {
            nextSend = CW_SEND_DAH;
        } else if(now > keyReadTimeout) {
            if(ditPressed) {
                nextSend = CW_SEND_DIT;
            } else if (dahPressed) {
                nextSend = CW_SEND_DAH;
            }
        }
    }

    if((now > sendTimeout) && (nextSend != CW_SEND_NONE)) {
        if(nextSend == CW_SEND_DIT) {
            iambicKeyerLogEmit('.');
            sendFinish = now + keyerConfig.ditTimeMs;
            keyReadTimeout = now + keyerConfig.ditTimeMs*2;
        } else if(nextSend == CW_SEND_DAH) {
            iambicKeyerLogEmit('-');
            sendFinish = now + keyerConfig.ditTimeMs*3;
            keyReadTimeout = now + keyerConfig.ditTimeMs*3;
        }

        lastSent = nextSend;
        nextSend = CW_SEND_NONE;
        sendTimeout = sendFinish + keyerConfig.ditTimeMs;
        isSending = true;
        keyDown();
    }
}

int32_t getDelta(TIM_HandleTypeDef* htim, int32_t *prevCounter, int32_t mult, int32_t div) {
    int32_t currCounter = __HAL_TIM_GET_COUNTER(htim);
    currCounter = mult*(currCounter / div);
    currCounter = 32767 - ((currCounter-1) & 0xFFFF) / 2;
    if(currCounter > 32768/2) {
        // convert ... 32766, 32767, 0, 1, 2 ... into:
        //               ... -2, -1, 0, 1, 2 ...
        // this simplifies `delta` calculation
        currCounter = currCounter-32768;
    }

    if(currCounter != *prevCounter) {
        int32_t delta = *prevCounter-currCounter;
        *prevCounter = currCounter;

        // debounce or skip counter overflow
        if((delta > -10) && (delta < 10)) {
            return delta;
        }
    }

    return 0;
}

void displayKeyerSpeedSettings() {
    char buff[16];
    if(keyerConfig.straightKey) {
        LCD_Goto(0, 0);
        LCD_SendString("SPEED --");
        LCD_Goto(1, 0);
        LCD_SendString("STRAIGHT");
    } else {
        snprintf(buff, sizeof(buff), "SPEED %02ld", keyerConfig.speedWPM);
        LCD_Goto(0, 0);
        LCD_SendString(buff);
        LCD_Goto(1, 0);
        LCD_SendString("IAMBIC  ");
    }
}

void displayKeyerSaveSettings() {
    LCD_Goto(0, 0);
    LCD_SendString("SAVE MSG");
    LCD_Goto(1, 0);
    LCD_SendString("CFM=LOCK");
}

void displayKeyerPlaySettings() {
    LCD_Goto(0, 0);
    LCD_SendString("PLAY MSG");
    LCD_Goto(1, 0);
    LCD_SendString("CFM=LOCK");
}

bool anyButtonPressed(bool ignore_mode) {
    return (buttonNextPressed() == BUTTON_STATUS_PRESSED) ||
        (buttonFastPressed() == BUTTON_STATUS_PRESSED) ||
        (buttonLockPressed() == BUTTON_STATUS_PRESSED) ||
        (buttonPrevPressed() == BUTTON_STATUS_PRESSED) ||
        (buttonXmitPressed() == BUTTON_STATUS_PRESSED) ||
        (buttonKeyerPressed() == BUTTON_STATUS_PRESSED) ||
        (buttonClarPressed() == BUTTON_STATUS_PRESSED) ||
        buttonDitPressed() || buttonDahPressed() ||
        ((!ignore_mode) && (transmittingSSB != enabledSSBMode()));
}

uint32_t lastSWRCheckTime = 0;
double lastSWRValue = 0.0;

void resetSWRMeter() {
    lastSWRCheckTime = 0;
    lastSWRValue = 0.0;
}

void updateSWRMeter() {
    double v_fwd, v_ref, ratio, swr;
    uint32_t tstamp = HAL_GetTick();
    if(tstamp - lastSWRCheckTime < 100) {
        return;
    }

    v_fwd = ADC_ReadVoltage(ADC_CHANNEL_0);
    if(v_fwd < 0.2) {
        /* not transmitting */
        return;
    }

    lastSWRCheckTime = tstamp;
    v_ref = ADC_ReadVoltage(ADC_CHANNEL_1);
    if(v_ref < 0.2) {
        v_ref = 0.0;
    }

    if(v_ref > v_fwd) {
        swr = 25.0;
    } else {
        ratio = v_ref / v_fwd;
        swr = (1+ratio)/(1-ratio);
    }

    if(fabs(lastSWRValue - swr) <= 0.2) {
        return;
    }

    LCD_Goto(1, 5);
    if(swr >= 10.0) {
        LCD_SendString("10+");
    } else {
        char buff[8];
        snprintf(buff, sizeof(buff), "%.1f", swr);
        LCD_SendString(buff);
    }

    lastSWRValue = swr;
}

void playbackSavedMessage(bool renderCounter, bool renderSWRMeter) {
    int32_t sendStart = 0;
    int32_t sendFinish = 0;
    bool isSending = false;
    int32_t now;
    size_t symbolsLeft = keyerMessage.length;
    size_t currentSymbolIdx = 0;
    char c;

    /* This ensures that anyButtonPressed() will work properly */
    transmittingSSB = false;

    if(renderCounter) {
        char buff[16];
        snprintf(buff, sizeof(buff), "%03d", symbolsLeft);
        LCD_Goto(0, 5);
        LCD_SendString(buff);
    }

    while(symbolsLeft > 0) {
        now = HAL_GetTick();

        if((!isSending) && (now >= sendStart)) {
            // time to send the next symbol
            c = keyerMessage.message[currentSymbolIdx];
            isSending = true;

            if(c == '/') {
                // Pause between words.
                // We already waited for ditTimeMs, thus -1.
                // Act as if we are sending another symbol,
                // although keyDown() is not called.
                sendFinish = now + keyerConfig.ditTimeMs*(7-1);
            } else if(c == ' ') {
                // Pause between letters.
                // We already waited for ditTimeMs, thus -1.
                // Act as if we are sending another symbol,
                // although keyDown() is not called.
                sendFinish = now + keyerConfig.ditTimeMs*(3-1);
            } else if(c == '-') {
                keyDown();
                sendFinish = now + keyerConfig.ditTimeMs*3;
            } else { // c == '.'
                keyDown();
                sendFinish = now + keyerConfig.ditTimeMs;
            }
        }

        if(isSending && (now >= sendFinish)) {
            // another symbol was sent
            keyUp();
            symbolsLeft--;
            currentSymbolIdx++;
            isSending = false;

            // `ditTimeMs` is a pause between dits and dahs
            sendStart = now + keyerConfig.ditTimeMs;

            if(renderCounter) {
                char buff[16];
                snprintf(buff, sizeof(buff), "%03d", symbolsLeft);
                LCD_Goto(0, 5);
                LCD_SendString(buff);
            }
        }

        if(anyButtonPressed(false)) {
            break;
        }

        if(renderSWRMeter) {
            updateSWRMeter();
        }

        HAL_Delay(LOOP_DELAY);
    }

    keyUp();

    if(renderCounter) {
        LCD_Goto(0, 5);
        LCD_SendString("MSG");
    }
}

void enterKeyerSaveMode() {
    bool keyerInitDone = false;
    uint32_t keyerInitTime = 0;
    char buff[8];
    size_t spaceLeft, prevSpaceLeft;

    iambicKeyerLogReset();
    spaceLeft = iambicKeyerLogSpaceLeft();
    prevSpaceLeft = spaceLeft;

    snprintf(buff, sizeof(buff), "%03d", spaceLeft);
    LCD_Goto(0, 5);
    LCD_SendString(buff);

    for(;;) {
        bool ditPressed = buttonDitPressed();
        bool dahPressed = buttonDahPressed();

        if((ditPressed || dahPressed)) {
            keyerInitTime = HAL_GetTick();
            if(!keyerInitDone) {
                keyerInitDone = true;
                // use iambic keyer even in straight key mode
                initIambicKeyer();
            }
        } else {
            uint32_t tstamp = HAL_GetTick();
            if(tstamp - keyerInitTime > keyerConfig.ditTimeMs*8) {
                keyerInitDone = false;
            }
        }

        if(keyerInitDone) {
            processIambicKeyerLogic(ditPressed, dahPressed);
        }

        if(buttonLockPressed() == BUTTON_STATUS_PRESSED) {
            // SAVE confirmed
            keyerMessage.length = iambicKeyerLogSize();
            memcpy(keyerMessage.message, iambicKeyerLog, keyerMessage.length);

            // truncate the pauses in the end of the message
            while(keyerMessage.length > 0) {
                if(keyerMessage.message[keyerMessage.length-1] == ' ') {
                    keyerMessage.length--;
                    continue;
                }

                if(keyerMessage.message[keyerMessage.length-1] == '/') {
                    keyerMessage.length--;
                    continue;
                }

                break;
            }

            saveKeyerMessage();
            break;
        } else if(buttonKeyerPressed() == BUTTON_STATUS_PRESSED) {
            // SAVE aborted
            break;
        }

        spaceLeft = iambicKeyerLogSpaceLeft();
        if(spaceLeft != prevSpaceLeft) {
            // re-render
            snprintf(buff, sizeof(buff), "%03d", spaceLeft);
            LCD_Goto(0, 5);
            LCD_SendString(buff);
            prevSpaceLeft = spaceLeft;
        }

        HAL_Delay(LOOP_DELAY);
    }

    LCD_Goto(0, 5);
    LCD_SendString("MSG");
}

void loopKeyer() {
    bool keyerInitDone = false;
    uint32_t keyerInitTime = 0;
    int32_t prevCounter = 0;

    // init the last state
    if(keyerConfig.settingsPage == KEYER_SETINGS_PAGE_SPEED) {
        // reset the counter
        (void)getDelta(&htim1, &prevCounter, MAIN_DELTA_MULT, MAIN_DELTA_DIV);
        displayKeyerSpeedSettings();
    } else if(keyerConfig.settingsPage == KEYER_SETINGS_PAGE_SAVE) {
        displayKeyerSaveSettings();
    } else { // keyerConfig.settingsPage == KEYER_SETINGS_PAGE_PLAY
        displayKeyerPlaySettings();
    }

    for(;;) {
        /* process CW/SSB switch while in KEYER menu */
        checkIfRxModeHasChanged();

        if(keyerConfig.settingsPage == KEYER_SETINGS_PAGE_SPEED) {
            bool ditPressed = buttonDitPressed();
            bool dahPressed = buttonDahPressed();

            if((ditPressed || dahPressed)) {
                keyerInitTime = HAL_GetTick();
                if(!keyerInitDone) {
                    keyerInitDone = true;
                    if(keyerConfig.straightKey) {
                        initStraightKeyer();
                    } else {
                        initIambicKeyer();
                    }
                }
            } else {
                uint32_t tstamp = HAL_GetTick();
                if(tstamp - keyerInitTime > keyerConfig.ditTimeMs*8) {
                    keyerInitDone = false;
                }
            }

            if(keyerInitDone) {
                if(keyerConfig.straightKey) {
                    processStraightKeyerLogic(ditPressed);
                } else {
                    processIambicKeyerLogic(ditPressed, dahPressed);
                }
            }

            int32_t delta = getDelta(&htim1, &prevCounter, MAIN_DELTA_MULT, MAIN_DELTA_DIV);
            if(delta != 0) {
                // don't forget to re-init the keyer next time
                keyerInitDone = false;

                keyUp();
                changeKeyerSpeed(delta);

                // re-render
                displayKeyerSpeedSettings();
            }

            if(buttonNextPressed() == BUTTON_STATUS_PRESSED) {
                displayKeyerSaveSettings();
                keyerConfig.settingsPage = KEYER_SETINGS_PAGE_SAVE;
            } else if(buttonPrevPressed() == BUTTON_STATUS_PRESSED) {
                displayKeyerPlaySettings();
                keyerConfig.settingsPage = KEYER_SETINGS_PAGE_PLAY;
            } else if(buttonKeyerPressed() == BUTTON_STATUS_PRESSED) {
                break;
            }
        } else if(keyerConfig.settingsPage == KEYER_SETINGS_PAGE_SAVE) {
            if(buttonNextPressed() == BUTTON_STATUS_PRESSED) {
                displayKeyerPlaySettings();
                keyerConfig.settingsPage = KEYER_SETINGS_PAGE_PLAY;
            } else if(buttonPrevPressed() == BUTTON_STATUS_PRESSED) {
                // reset the counter
                (void)getDelta(&htim1, &prevCounter, MAIN_DELTA_MULT, MAIN_DELTA_DIV);
                displayKeyerSpeedSettings();
                keyerConfig.settingsPage = KEYER_SETINGS_PAGE_SPEED;
            } else if(buttonLockPressed() == BUTTON_STATUS_PRESSED) {
                enterKeyerSaveMode();
            } else if(buttonKeyerPressed() == BUTTON_STATUS_PRESSED) {
                break;
            }
        } else { // keyerConfig.settingsPage == KEYER_SETINGS_PAGE_PLAY
            if(buttonNextPressed() == BUTTON_STATUS_PRESSED) {
                // reset the counter
                (void)getDelta(&htim1, &prevCounter, MAIN_DELTA_MULT, MAIN_DELTA_DIV);
                displayKeyerSpeedSettings();
                keyerConfig.settingsPage = KEYER_SETINGS_PAGE_SPEED;
            } else if(buttonPrevPressed() == BUTTON_STATUS_PRESSED) {
                displayKeyerSaveSettings();
                keyerConfig.settingsPage = KEYER_SETINGS_PAGE_SAVE;
            } else if(buttonLockPressed() == BUTTON_STATUS_PRESSED) {
                playbackSavedMessage(true, false);
            } else if(buttonKeyerPressed() == BUTTON_STATUS_PRESSED) {
                break;
            }
        }

        HAL_Delay(LOOP_DELAY);
    }

    saveKeyerConfig();
    displayFrequency();
    displaySMeterOrMode(true);
}

void loopMain() {
    static int32_t prevMainCounter = 0;
    static int32_t prevClarCounter = 0;
    static uint32_t transmitModeEnterTime = 0;
    bool ditPressed = buttonDitPressed();
    bool dahPressed = buttonDahPressed();

    if(ditPressed || dahPressed) {
        transmitModeEnterTime = HAL_GetTick();
        if(!inTransmitMode) {
            /* enter transmit mode */
            transmittingSSB = enabledSSBMode();
            ensureTransmitMode();
            resetSWRMeter();

            if(!transmittingSSB) {
                if(keyerConfig.straightKey) {
                    initStraightKeyer();
                } else {
                    initIambicKeyer();
                }
            }
        }
    } else if(inTransmitMode) {
        /* exit TX mode due to inactivity? */
        uint32_t tstamp = HAL_GetTick();
        uint32_t delay = keyerConfig.straightKey ? 1000 : keyerConfig.ditTimeMs*15;

        if(transmittingSSB || (tstamp - transmitModeEnterTime > delay)) {
            ensureReceiveMode();
            /* discard any changes in counters */
            (void)getDelta(&htim1, &prevMainCounter, MAIN_DELTA_MULT, MAIN_DELTA_DIV);
            (void)getDelta(&htim2, &prevClarCounter, CLAR_DELTA_MULT, CLAR_DELTA_DIV);
        }
    }

    if(inTransmitMode) {
        if(transmittingSSB != enabledSSBMode()) {
            /*
             * Mode has changed while transmitting,
             * entering RX mode.
             */
            ensureReceiveMode();
            /* discard any changes in counters */
            (void)getDelta(&htim1, &prevMainCounter, MAIN_DELTA_MULT, MAIN_DELTA_DIV);
            (void)getDelta(&htim2, &prevClarCounter, CLAR_DELTA_MULT, CLAR_DELTA_DIV);
        } else {
            if(!transmittingSSB) {
                if(keyerConfig.straightKey) {
                    processStraightKeyerLogic(ditPressed);
                } else {
                    processIambicKeyerLogic(ditPressed, dahPressed);
                }
            }

            updateSWRMeter();
        }
    } else {
        /* do it only in RX mode */
        checkIfRxModeHasChanged();

        int32_t delta = getDelta(&htim1, &prevMainCounter, MAIN_DELTA_MULT, MAIN_DELTA_DIV);
        if(delta != 0) {
            changeFrequency(delta, false, false); // will do nothing in LOCK mode
            displayFrequency();
        }

        if((clarMode != CLAR_MODE_DISABLED) && (!fastMode) && (!lockMode)) {
            delta = getDelta(&htim2, &prevClarCounter, CLAR_DELTA_MULT, CLAR_DELTA_DIV);
            if(delta != 0) {
                clarOffset = clarOffset + delta*50;
                if(clarOffset < -5000) {
                    clarOffset = -5000;
                } else if (clarOffset > 5000) {
                    clarOffset = 5000;
                }

                if(clarMode == CLAR_MODE_RIT) {
                    changeFrequency(0, false, false);
                }
                displaySMeterOrMode(true);
            }
        }

        if((buttonLockPressed() == BUTTON_STATUS_PRESSED) && (!fastMode)) {
            lockMode = !lockMode;
            if(!lockMode) {
                // discard any changes in counters
                (void)getDelta(&htim1, &prevMainCounter, MAIN_DELTA_MULT, MAIN_DELTA_DIV);
                (void)getDelta(&htim2, &prevClarCounter, CLAR_DELTA_MULT, CLAR_DELTA_DIV);
            }
            displaySMeterOrMode(true);
        } else if(!lockMode) {
            if(buttonNextPressed() == BUTTON_STATUS_PRESSED) {
                if(fastMode) {
                    int32_t i;
                    for(i = 0; i < FAST_FREQUENCIES_NUMBER; i++) {
                        if(bands[currentBand].fastFreqs[i] == -1)
                            continue;

                        if(bands[currentBand].fastFreqs[i] > bands[currentBand].lastFreq) {
                            bands[currentBand].lastFreq = bands[currentBand].fastFreqs[i];
                            changeFrequency(0, false, false);
                            displayFrequency();
                            break;
                        }
                    }
                } else {
                    changeBand(1);
                }
            } else if(buttonPrevPressed() == BUTTON_STATUS_PRESSED) {
                if(fastMode) {
                    int32_t i;
                    for(i = FAST_FREQUENCIES_NUMBER-1; i >= 0; i--) {
                        if(bands[currentBand].fastFreqs[i] == -1)
                            continue;

                        if(bands[currentBand].fastFreqs[i] < bands[currentBand].lastFreq) {
                            bands[currentBand].lastFreq = bands[currentBand].fastFreqs[i];
                            changeFrequency(0, false, false);
                            displayFrequency();
                            break;
                        }
                    }
                } else {
                    changeBand(-1);
                }
            } else if(buttonFastPressed() == BUTTON_STATUS_PRESSED) {
                fastMode = !fastMode;
                if(!fastMode) {
                    // discard any changes in counters
                    (void)getDelta(&htim1, &prevMainCounter, MAIN_DELTA_MULT, MAIN_DELTA_DIV);
                    (void)getDelta(&htim2, &prevClarCounter, CLAR_DELTA_MULT, CLAR_DELTA_DIV);
                }
                displaySMeterOrMode(true);
            } else if(!fastMode && (buttonClarPressed() == BUTTON_STATUS_PRESSED)) {
                if(clarMode == CLAR_MODE_DISABLED) {
                    clarMode = CLAR_MODE_RIT;
                    clarOffset = 0;
                    // discard any changes in counter
                    (void)getDelta(&htim2, &prevClarCounter, CLAR_DELTA_MULT, CLAR_DELTA_DIV);
                } else if(clarMode == CLAR_MODE_RIT) {
                    clarMode = CLAR_MODE_XIT;
                    clarOffset = 0;
                    // discard any changes in counter
                    (void)getDelta(&htim2, &prevClarCounter, CLAR_DELTA_MULT, CLAR_DELTA_DIV);
                } else {
                    clarMode = CLAR_MODE_DISABLED;
                }

                changeFrequency(0, false, true);
                displaySMeterOrMode(true);
            } else if(buttonKeyerPressed() == BUTTON_STATUS_PRESSED) {
                loopKeyer();
                // discard any changes in counters
                (void)getDelta(&htim1, &prevMainCounter, MAIN_DELTA_MULT, MAIN_DELTA_DIV);
                (void)getDelta(&htim2, &prevClarCounter, CLAR_DELTA_MULT, CLAR_DELTA_DIV);
            } else if(buttonXmitPressed() == BUTTON_STATUS_PRESSED) {
                if(enabledSSBMode()) {
                    /* In SSB mode XMIT works as TUNE */
                    uint32_t tstamp;

                    // ENABLE_SSB_12V; disable while transmitting the carrier
                    HAL_GPIO_WritePin(GPIOB, GPIO_PIN_14, GPIO_PIN_RESET);

                    transmittingSSB = false;
                    ensureTransmitMode();
                    resetSWRMeter();

                    transmitModeEnterTime = HAL_GetTick();
                    keyDown();

                    do {
                        updateSWRMeter();
                        tstamp = HAL_GetTick();
                    } while((!anyButtonPressed(true)) && (tstamp - transmitModeEnterTime < 10000));

                    keyUp();
                    ensureReceiveMode();

                    // ENABLE_SSB_12V; restore the original pin state
                    HAL_GPIO_WritePin(GPIOB, GPIO_PIN_14, GPIO_PIN_SET);

                    /* discard any changes in counters */
                    (void)getDelta(&htim1, &prevMainCounter, MAIN_DELTA_MULT, MAIN_DELTA_DIV);
                    (void)getDelta(&htim2, &prevClarCounter, CLAR_DELTA_MULT, CLAR_DELTA_DIV);
                } else {
                    /* In CW mode XMIT sends the saved message */
                    ensureTransmitMode();
                    resetSWRMeter();

                    if(keyerConfig.straightKey) {
                        initStraightKeyer();
                    } else {
                        initIambicKeyer();
                    }
                    playbackSavedMessage(false, true);

                    transmitModeEnterTime = HAL_GetTick();

                    /* loopMain() will be called again from the main loop */
                    return;
                }
            }
        }

        if((clarMode == CLAR_MODE_DISABLED) && (!lockMode) && (!fastMode)) {
            displaySMeterOrMode(false);
        }
    }

    HAL_Delay(LOOP_DELAY);
}

void init() {
/*
    // Code for determining the correction factor for Si5351
    char calmsg[16];

    LCD_Init();
    LCD_Goto(0, 0);
    LCD_SendString(" Si5351 ");
    LCD_Goto(1, 0);
    snprintf(calmsg, sizeof(calmsg), "Cal; CH%d", CH_CAL);
    LCD_SendString(calmsg);

    si5351_Init(0);
    si5351PLLConfig_t pll_conf;
    si5351OutputConfig_t out_conf;
    int32_t Fclk = 10000000;

    si5351_Calc(Fclk, &pll_conf, &out_conf);
    si5351_SetupPLL(SI5351_PLL_A, &pll_conf);
    si5351_SetupOutput(CH_CAL, SI5351_PLL_A, SI5351_DRIVE_STRENGTH_4MA, &out_conf);
    si5351_EnableOutputs(1<<CH_CAL);

    while(1) {
        HAL_Delay(100);
    }
*/
    enableTx(false);
    switchBFO(false);
    keyUp();

    HAL_TIM_Encoder_Start(&htim1, TIM_CHANNEL_ALL);
    HAL_TIM_Encoder_Start(&htim2, TIM_CHANNEL_ALL);
    HAL_ADC_Start(&hadc1);

    LCD_Init();
    LCD_Goto(0, 0);
    LCD_SendString("HBR MKII");
    LCD_Goto(1, 0);
    LCD_SendString("May 2024");
    HAL_Delay(1000);
    LCD_Clear();

    LCD_Goto(0, 0);
    LCD_SendString("I2C:  ");
    bool first_line = true;
    for(uint16_t i = 1; i < 128; i++) {
        HAL_StatusTypeDef res;
        res = HAL_I2C_IsDeviceReady(&hi2c1, i << 1, 1, 10);
        if(res == HAL_OK) {
            char msg[64];
            snprintf(msg, sizeof(msg), "%02X ", i);
            LCD_SendString(msg);
            if(first_line) {
                LCD_Goto(1, 0);
                first_line = false;
            }
        }
    }
    HAL_Delay(1000);
    LCD_Clear();

    loadKeyerConfig();
    loadKeyerMessage();
    displaySMeterOrMode(true);

    si5351_Init(si5351_correction);
    changeBand(0); // calls changeFrequency()

    inTransmitMode = true;
    ensureReceiveMode();
}

/* USER CODE END 0 */

int main(void)
{

  /* MCU Configuration--------------------------------------------------------*/

  /* Reset of all peripherals, Initializes the Flash interface and the Systick. */
  HAL_Init();

  /* Configure the system clock */
  SystemClock_Config();

  /* Initialize all configured peripherals */
  MX_GPIO_Init();
  MX_TIM1_Init();
  MX_I2C1_Init();
  MX_ADC1_Init();
  MX_TIM2_Init();
  /* USER CODE BEGIN 2 */
  init();
  /* USER CODE END 2 */

  /* Infinite loop */
  /* USER CODE BEGIN WHILE */
  while (1)
  {
    loopMain();
    /* USER CODE END WHILE */

  }
}

void SystemClock_Config(void)
{
  RCC_OscInitTypeDef RCC_OscInitStruct = {0};
  RCC_ClkInitTypeDef RCC_ClkInitStruct = {0};
  RCC_PeriphCLKInitTypeDef PeriphClkInit = {0};

  /**Initializes the CPU, AHB and APB busses clocks
  */
  RCC_OscInitStruct.OscillatorType = RCC_OSCILLATORTYPE_HSE;
  RCC_OscInitStruct.HSEState = RCC_HSE_ON;
  RCC_OscInitStruct.PLL.PLLState = RCC_PLL_NONE;
  if (HAL_RCC_OscConfig(&RCC_OscInitStruct) != HAL_OK)
  {
    Error_Handler();
  }
  /**Initializes the CPU, AHB and APB busses clocks
  */
  RCC_ClkInitStruct.ClockType = RCC_CLOCKTYPE_HCLK|RCC_CLOCKTYPE_SYSCLK
                              |RCC_CLOCKTYPE_PCLK1|RCC_CLOCKTYPE_PCLK2;
  RCC_ClkInitStruct.SYSCLKSource = RCC_SYSCLKSOURCE_HSE;
  RCC_ClkInitStruct.AHBCLKDivider = RCC_SYSCLK_DIV2;
  RCC_ClkInitStruct.APB1CLKDivider = RCC_HCLK_DIV1;
  RCC_ClkInitStruct.APB2CLKDivider = RCC_HCLK_DIV4;

  if (HAL_RCC_ClockConfig(&RCC_ClkInitStruct, FLASH_LATENCY_0) != HAL_OK)
  {
    Error_Handler();
  }
  PeriphClkInit.PeriphClockSelection = RCC_PERIPHCLK_ADC;
  PeriphClkInit.AdcClockSelection = RCC_ADCPCLK2_DIV2;
  if (HAL_RCCEx_PeriphCLKConfig(&PeriphClkInit) != HAL_OK)
  {
    Error_Handler();
  }
}

static void MX_ADC1_Init(void)
{

  ADC_ChannelConfTypeDef sConfig = {0};

  /**Common config
  */
  hadc1.Instance = ADC1;
  hadc1.Init.ScanConvMode = ADC_SCAN_DISABLE;
  hadc1.Init.ContinuousConvMode = ENABLE;
  hadc1.Init.DiscontinuousConvMode = DISABLE;
  hadc1.Init.ExternalTrigConv = ADC_SOFTWARE_START;
  hadc1.Init.DataAlign = ADC_DATAALIGN_RIGHT;
  hadc1.Init.NbrOfConversion = 1;
  if (HAL_ADC_Init(&hadc1) != HAL_OK)
  {
    Error_Handler();
  }
  /**Configure Regular Channel
  */
  sConfig.Channel = ADC_CHANNEL_0;
  sConfig.Rank = ADC_REGULAR_RANK_1;
  sConfig.SamplingTime = ADC_SAMPLETIME_239CYCLES_5;
  if (HAL_ADC_ConfigChannel(&hadc1, &sConfig) != HAL_OK)
  {
    Error_Handler();
  }

}

static void MX_I2C1_Init(void)
{

  hi2c1.Instance = I2C1;
  hi2c1.Init.ClockSpeed = 100000;
  hi2c1.Init.DutyCycle = I2C_DUTYCYCLE_2;
  hi2c1.Init.OwnAddress1 = 0;
  hi2c1.Init.AddressingMode = I2C_ADDRESSINGMODE_7BIT;
  hi2c1.Init.DualAddressMode = I2C_DUALADDRESS_DISABLE;
  hi2c1.Init.OwnAddress2 = 0;
  hi2c1.Init.GeneralCallMode = I2C_GENERALCALL_DISABLE;
  hi2c1.Init.NoStretchMode = I2C_NOSTRETCH_DISABLE;
  if (HAL_I2C_Init(&hi2c1) != HAL_OK)
  {
    Error_Handler();
  }

}

static void MX_TIM1_Init(void)
{

  TIM_Encoder_InitTypeDef sConfig = {0};
  TIM_MasterConfigTypeDef sMasterConfig = {0};

  htim1.Instance = TIM1;
  htim1.Init.Prescaler = 0;
  htim1.Init.CounterMode = TIM_COUNTERMODE_UP;
  htim1.Init.Period = 65535;
  htim1.Init.ClockDivision = TIM_CLOCKDIVISION_DIV1;
  htim1.Init.RepetitionCounter = 0;
  htim1.Init.AutoReloadPreload = TIM_AUTORELOAD_PRELOAD_DISABLE;
  sConfig.EncoderMode = TIM_ENCODERMODE_TI1;
  sConfig.IC1Polarity = TIM_ICPOLARITY_RISING;
  sConfig.IC1Selection = TIM_ICSELECTION_DIRECTTI;
  sConfig.IC1Prescaler = TIM_ICPSC_DIV1;
  sConfig.IC1Filter = 0;
  sConfig.IC2Polarity = TIM_ICPOLARITY_RISING;
  sConfig.IC2Selection = TIM_ICSELECTION_DIRECTTI;
  sConfig.IC2Prescaler = TIM_ICPSC_DIV1;
  sConfig.IC2Filter = 0;
  if (HAL_TIM_Encoder_Init(&htim1, &sConfig) != HAL_OK)
  {
    Error_Handler();
  }
  sMasterConfig.MasterOutputTrigger = TIM_TRGO_RESET;
  sMasterConfig.MasterSlaveMode = TIM_MASTERSLAVEMODE_DISABLE;
  if (HAL_TIMEx_MasterConfigSynchronization(&htim1, &sMasterConfig) != HAL_OK)
  {
    Error_Handler();
  }

}

static void MX_TIM2_Init(void)
{

  TIM_Encoder_InitTypeDef sConfig = {0};
  TIM_MasterConfigTypeDef sMasterConfig = {0};

  htim2.Instance = TIM2;
  htim2.Init.Prescaler = 0;
  htim2.Init.CounterMode = TIM_COUNTERMODE_UP;
  htim2.Init.Period = 65535;
  htim2.Init.ClockDivision = TIM_CLOCKDIVISION_DIV1;
  htim2.Init.AutoReloadPreload = TIM_AUTORELOAD_PRELOAD_DISABLE;
  sConfig.EncoderMode = TIM_ENCODERMODE_TI1;
  sConfig.IC1Polarity = TIM_ICPOLARITY_RISING;
  sConfig.IC1Selection = TIM_ICSELECTION_DIRECTTI;
  sConfig.IC1Prescaler = TIM_ICPSC_DIV1;
  sConfig.IC1Filter = 0;
  sConfig.IC2Polarity = TIM_ICPOLARITY_RISING;
  sConfig.IC2Selection = TIM_ICSELECTION_DIRECTTI;
  sConfig.IC2Prescaler = TIM_ICPSC_DIV1;
  sConfig.IC2Filter = 0;
  if (HAL_TIM_Encoder_Init(&htim2, &sConfig) != HAL_OK)
  {
    Error_Handler();
  }
  sMasterConfig.MasterOutputTrigger = TIM_TRGO_RESET;
  sMasterConfig.MasterSlaveMode = TIM_MASTERSLAVEMODE_DISABLE;
  if (HAL_TIMEx_MasterConfigSynchronization(&htim2, &sMasterConfig) != HAL_OK)
  {
    Error_Handler();
  }

}

static void MX_GPIO_Init(void)
{
  GPIO_InitTypeDef GPIO_InitStruct = {0};

  /* GPIO Ports Clock Enable */
  __HAL_RCC_GPIOC_CLK_ENABLE();
  __HAL_RCC_GPIOD_CLK_ENABLE();
  __HAL_RCC_GPIOA_CLK_ENABLE();
  __HAL_RCC_GPIOB_CLK_ENABLE();

  /*Configure GPIO pin Output Level */
  HAL_GPIO_WritePin(GPIOC, GPIO_PIN_13|GPIO_PIN_14|GPIO_PIN_15, GPIO_PIN_RESET);

  /*Configure GPIO pin Output Level */
  HAL_GPIO_WritePin(GPIOA, GPIO_PIN_3|GPIO_PIN_4|GPIO_PIN_5|GPIO_PIN_6
                          |GPIO_PIN_7, GPIO_PIN_RESET);

  /*Configure GPIO pin Output Level */
  HAL_GPIO_WritePin(GPIOB, GPIO_PIN_14|GPIO_PIN_15|GPIO_PIN_5|GPIO_PIN_6
                          |GPIO_PIN_7, GPIO_PIN_RESET);

  /*Configure GPIO pins : PC13 PC14 PC15 */
  GPIO_InitStruct.Pin = GPIO_PIN_13|GPIO_PIN_14|GPIO_PIN_15;
  GPIO_InitStruct.Mode = GPIO_MODE_OUTPUT_PP;
  GPIO_InitStruct.Pull = GPIO_NOPULL;
  GPIO_InitStruct.Speed = GPIO_SPEED_FREQ_LOW;
  HAL_GPIO_Init(GPIOC, &GPIO_InitStruct);

  /*Configure GPIO pins : PA3 PA4 PA5 PA6
                           PA7 */
  GPIO_InitStruct.Pin = GPIO_PIN_3|GPIO_PIN_4|GPIO_PIN_5|GPIO_PIN_6
                          |GPIO_PIN_7;
  GPIO_InitStruct.Mode = GPIO_MODE_OUTPUT_PP;
  GPIO_InitStruct.Pull = GPIO_NOPULL;
  GPIO_InitStruct.Speed = GPIO_SPEED_FREQ_LOW;
  HAL_GPIO_Init(GPIOA, &GPIO_InitStruct);

  /*Configure GPIO pins : PB0 PB1 PB10 PB11
                           PB12 PB13 PB4 */
  GPIO_InitStruct.Pin = GPIO_PIN_0|GPIO_PIN_1|GPIO_PIN_10|GPIO_PIN_11
                          |GPIO_PIN_12|GPIO_PIN_13|GPIO_PIN_4;
  GPIO_InitStruct.Mode = GPIO_MODE_INPUT;
  GPIO_InitStruct.Pull = GPIO_PULLUP;
  HAL_GPIO_Init(GPIOB, &GPIO_InitStruct);

  /*Configure GPIO pins : PB14 PB15 PB5 PB6
                           PB7 */
  GPIO_InitStruct.Pin = GPIO_PIN_14|GPIO_PIN_15|GPIO_PIN_5|GPIO_PIN_6
                          |GPIO_PIN_7;
  GPIO_InitStruct.Mode = GPIO_MODE_OUTPUT_PP;
  GPIO_InitStruct.Pull = GPIO_NOPULL;
  GPIO_InitStruct.Speed = GPIO_SPEED_FREQ_LOW;
  HAL_GPIO_Init(GPIOB, &GPIO_InitStruct);

  /*Configure GPIO pins : PA10 PA11 PA12 */
  GPIO_InitStruct.Pin = GPIO_PIN_10|GPIO_PIN_11|GPIO_PIN_12;
  GPIO_InitStruct.Mode = GPIO_MODE_INPUT;
  GPIO_InitStruct.Pull = GPIO_PULLUP;
  HAL_GPIO_Init(GPIOA, &GPIO_InitStruct);

}

void Error_Handler(void)
{
  while(1)
  {
  }
}

/************************ (C) COPYRIGHT STMicroelectronics *****END OF FILE****/
